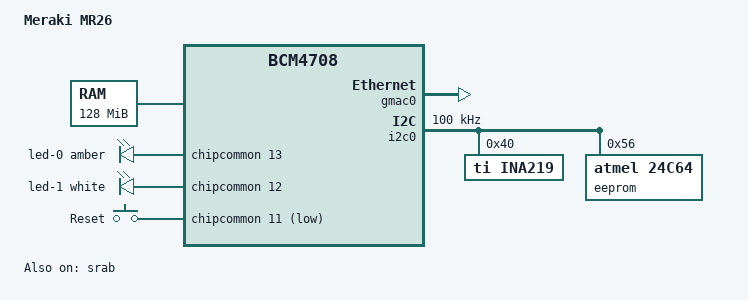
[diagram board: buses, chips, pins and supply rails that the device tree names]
// SPDX-License-Identifier: GPL-2.0-or-later OR MIT
/*
 * Broadcom BCM470X / BCM5301X ARM platform code.
 * DTS for Meraki MR26 / Codename: Venom
 *
 * Copyright (C) 2022 Christian Lamparter <chunkeey@gmail.com>
 */

/dts-v1/;

#include "bcm4708.dtsi"
#include "bcm5301x-nand-cs0-bch8.dtsi"
#include <dt-bindings/leds/common.h>

/ {
	compatible = "meraki,mr26", "brcm,bcm53015", "brcm,bcm4708";
	model = "Meraki MR26";

	memory@0 {
		reg = <0x00000000 0x08000000>;
		device_type = "memory";
	};

	leds {
		compatible = "gpio-leds";

		led-0 {
			function = LED_FUNCTION_FAULT;
			color = <LED_COLOR_ID_AMBER>;
			gpios = <&chipcommon 13 GPIO_ACTIVE_HIGH>;
			panic-indicator;
		};
		led-1 {
			function = LED_FUNCTION_INDICATOR;
			color = <LED_COLOR_ID_WHITE>;
			gpios = <&chipcommon 12 GPIO_ACTIVE_HIGH>;
		};
	};

	keys {
		compatible = "gpio-keys";

		key-restart {
			label = "Reset";
			linux,code = <KEY_RESTART>;
			gpios = <&chipcommon 11 GPIO_ACTIVE_LOW>;
		};
	};
};

&uart0 {
	clock-frequency = <50000000>;
	/delete-property/ clocks;
};

&uart1 {
	status = "disabled";
};

&gmac0 {
	status = "okay";
};

&gmac1 {
	status = "disabled";
};
&gmac2 {
	status = "disabled";
};
&gmac3 {
	status = "disabled";
};

&nandcs {
	partitions {
		compatible = "fixed-partitions";
		#address-cells = <0x1>;
		#size-cells = <0x1>;

		partition@0 {
			label = "u-boot";
			reg = <0x0 0x200000>;
			read-only;
		};

		partition@200000 {
			label = "u-boot-env";
			reg = <0x200000 0x200000>;
			/* empty */
		};

		partition@400000 {
			label = "u-boot-backup";
			reg = <0x400000 0x200000>;
			/* empty */
		};

		partition@600000 {
			label = "u-boot-env-backup";
			reg = <0x600000 0x200000>;
			/* empty */
		};

		partition@800000 {
			label = "ubi";
			reg = <0x800000 0x7780000>;
		};
	};
};

&srab {
	status = "okay";

	ports {
		port@0 {
			label = "poe";
		};

		port@5 {
			label = "cpu";

			fixed-link {
				speed = <1000>;
				full-duplex;
			};
		};
	};
};

&i2c0 {
	status = "okay";

	pinctrl-names = "default";
	pinctrl-0 = <&pinmux_i2c>;

	clock-frequency = <100000>;

	ina219@40 {
		compatible = "ti,ina219"; /* PoE power */
		reg = <0x40>;
		shunt-resistor = <60000>; /* = 60 mOhms */
	};

	eeprom@56 {
		compatible = "atmel,24c64";
		reg = <0x56>;
		pagesize = <32>;
		read-only;
		#address-cells = <1>;
		#size-cells = <1>;

		/* it's empty */
	};
};

&thermal {
	status = "disabled";
	/* does not work, reads 418 degree Celsius */
};
